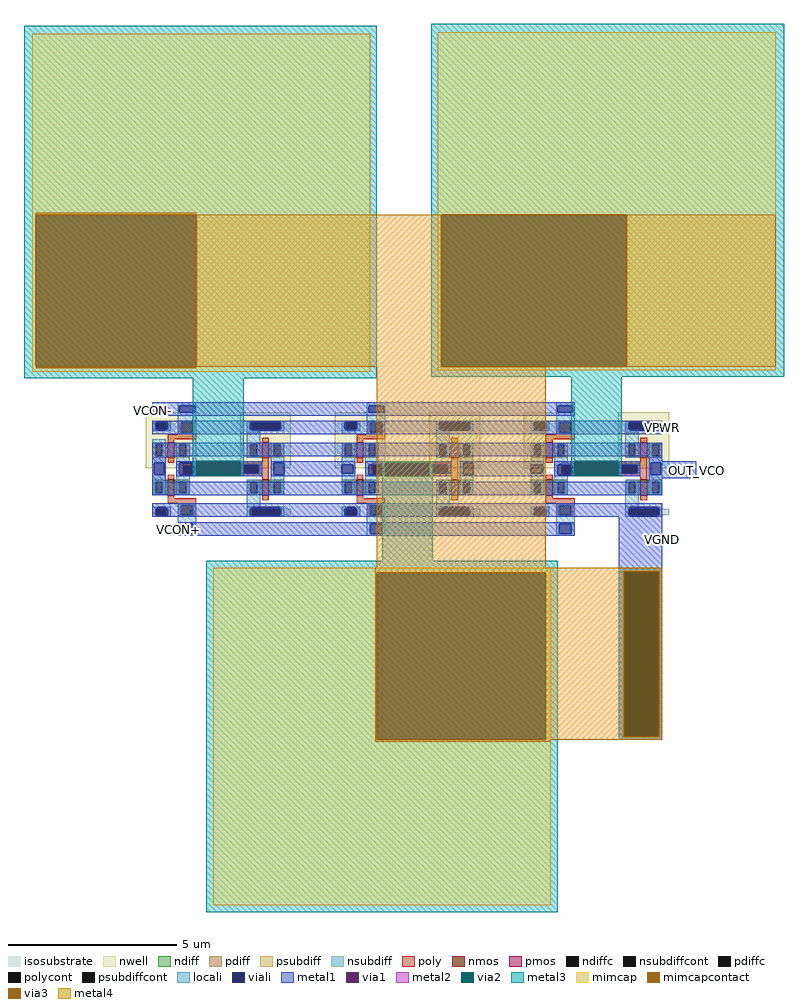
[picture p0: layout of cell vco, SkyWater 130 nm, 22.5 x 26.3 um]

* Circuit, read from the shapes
.subckt vco VPWR VCON- OUT_VCO VCON+ VGND
XM1 n1 VCON+ OUT_VCO VGND sky130_fd_pr__nfet_01v8 w=0.45 l=0.2
XM2 n2 n1 VGND VGND sky130_fd_pr__nfet_01v8 w=0.45 l=0.2
XM3 n3 VCON+ n2 VGND sky130_fd_pr__nfet_01v8 w=0.45 l=0.2
XM4 n4 n3 VGND VGND sky130_fd_pr__nfet_01v8 w=0.45 l=0.2
XM5 n5 VCON+ n4 VGND sky130_fd_pr__nfet_01v8 w=0.45 l=0.2
XM6 OUT_VCO n5 VGND VGND sky130_fd_pr__nfet_01v8 w=0.45 l=0.2
XM7 n1 VCON- OUT_VCO VPWR sky130_fd_pr__pfet_01v8 w=0.45 l=0.2
XM8 n2 n1 VPWR VPWR sky130_fd_pr__pfet_01v8 w=0.45 l=0.2
XM9 n3 VCON- n2 VPWR sky130_fd_pr__pfet_01v8 w=0.45 l=0.2
XM10 n4 n3 VPWR VPWR sky130_fd_pr__pfet_01v8 w=0.45 l=0.2
XM11 n5 VCON- n4 VPWR sky130_fd_pr__pfet_01v8 w=0.45 l=0.2
XM12 OUT_VCO n5 VPWR VPWR sky130_fd_pr__pfet_01v8 w=0.45 l=0.2
XC13 VGND n1 sky130_fd_pr__cap_mim_m3_1 w=10 l=10
XC14 VGND n3 sky130_fd_pr__cap_mim_m3_1 w=10 l=10
XC15 VGND n5 sky130_fd_pr__cap_mim_m3_1 w=10 l=10
.ends

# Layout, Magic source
magic
tech sky130A
<< isosubstrate >>
rect 190 315 210 335
rect 400 325 405 345
rect 420 340 470 345
rect 420 325 490 340
rect 470 320 490 325
rect 715 315 770 355
rect 960 325 965 345
rect 980 340 1030 345
rect 980 325 1050 340
rect 1030 320 1050 325
rect 1275 315 1330 355
rect 1520 325 1525 345
rect 1540 340 1590 345
rect 1540 325 1610 340
rect 1590 320 1610 325
<< nwell >>
rect 60 460 210 625
rect 340 460 490 625
rect 620 460 770 625
rect 900 460 1050 625
rect 1180 460 1330 625
rect 1460 460 1610 625
<< nmos >>
rect 125 380 145 425
rect 405 380 425 425
rect 685 380 705 425
rect 965 380 985 425
rect 1245 380 1265 425
rect 1525 380 1545 425
<< pmos >>
rect 125 490 145 535
rect 405 490 425 535
rect 685 490 705 535
rect 965 490 985 535
rect 1245 490 1265 535
rect 1525 490 1545 535
<< ndiff >>
rect 80 420 125 425
rect 80 385 90 420
rect 110 385 125 420
rect 80 380 125 385
rect 145 420 190 425
rect 145 385 160 420
rect 180 385 190 420
rect 145 380 190 385
rect 360 420 405 425
rect 360 385 370 420
rect 390 385 405 420
rect 360 380 405 385
rect 425 420 470 425
rect 425 385 440 420
rect 460 385 470 420
rect 425 380 470 385
rect 640 420 685 425
rect 640 385 650 420
rect 670 385 685 420
rect 640 380 685 385
rect 705 420 750 425
rect 705 385 720 420
rect 740 385 750 420
rect 705 380 750 385
rect 920 420 965 425
rect 920 385 930 420
rect 950 385 965 420
rect 920 380 965 385
rect 985 420 1030 425
rect 985 385 1000 420
rect 1020 385 1030 420
rect 985 380 1030 385
rect 1200 420 1245 425
rect 1200 385 1210 420
rect 1230 385 1245 420
rect 1200 380 1245 385
rect 1265 420 1310 425
rect 1265 385 1280 420
rect 1300 385 1310 420
rect 1265 380 1310 385
rect 1480 420 1525 425
rect 1480 385 1490 420
rect 1510 385 1525 420
rect 1480 380 1525 385
rect 1545 420 1590 425
rect 1545 385 1560 420
rect 1580 385 1590 420
rect 1545 380 1590 385
<< pdiff >>
rect 80 530 125 535
rect 80 495 90 530
rect 110 495 125 530
rect 80 490 125 495
rect 145 530 190 535
rect 145 495 160 530
rect 180 495 190 530
rect 145 490 190 495
rect 360 530 405 535
rect 360 495 370 530
rect 390 495 405 530
rect 360 490 405 495
rect 425 530 470 535
rect 425 495 440 530
rect 460 495 470 530
rect 425 490 470 495
rect 640 530 685 535
rect 640 495 650 530
rect 670 495 685 530
rect 640 490 685 495
rect 705 530 750 535
rect 705 495 720 530
rect 740 495 750 530
rect 705 490 750 495
rect 920 530 965 535
rect 920 495 930 530
rect 950 495 965 530
rect 920 490 965 495
rect 985 530 1030 535
rect 985 495 1000 530
rect 1020 495 1030 530
rect 985 490 1030 495
rect 1200 530 1245 535
rect 1200 495 1210 530
rect 1230 495 1245 530
rect 1200 490 1245 495
rect 1265 530 1310 535
rect 1265 495 1280 530
rect 1300 495 1310 530
rect 1265 490 1310 495
rect 1480 530 1525 535
rect 1480 495 1490 530
rect 1510 495 1525 530
rect 1480 490 1525 495
rect 1545 530 1590 535
rect 1545 495 1560 530
rect 1580 495 1590 530
rect 1545 490 1590 495
<< ndiffc >>
rect 90 385 110 420
rect 160 385 180 420
rect 370 385 390 420
rect 440 385 460 420
rect 650 385 670 420
rect 720 385 740 420
rect 930 385 950 420
rect 1000 385 1020 420
rect 1210 385 1230 420
rect 1280 385 1300 420
rect 1490 385 1510 420
rect 1560 385 1580 420
<< pdiffc >>
rect 90 495 110 530
rect 160 495 180 530
rect 370 495 390 530
rect 440 495 460 530
rect 650 495 670 530
rect 720 495 740 530
rect 930 495 950 530
rect 1000 495 1020 530
rect 1210 495 1230 530
rect 1280 495 1300 530
rect 1490 495 1510 530
rect 1560 495 1580 530
<< psubdiff >>
rect 80 315 95 345
rect 120 315 135 345
rect 360 315 375 345
rect 455 315 470 345
rect 640 315 655 345
rect 680 315 695 345
rect 920 315 935 345
rect 1015 315 1030 345
rect 1200 315 1215 345
rect 1240 315 1255 345
rect 1480 315 1495 345
rect 1575 315 1590 345
<< nsubdiff >>
rect 80 570 95 600
rect 120 570 135 600
rect 360 570 375 600
rect 455 570 470 600
rect 640 570 655 600
rect 680 570 695 600
rect 360 565 400 570
rect 920 570 935 600
rect 1015 570 1030 600
rect 1200 570 1215 600
rect 1240 570 1255 600
rect 920 565 960 570
rect 1480 570 1495 600
rect 1575 570 1590 600
rect 1480 565 1520 570
<< psubdiffcont >>
rect 95 315 120 345
rect 375 315 455 345
rect 655 315 680 345
rect 935 315 1015 345
rect 1215 315 1240 345
rect 1495 315 1575 345
<< nsubdiffcont >>
rect 95 570 120 600
rect 375 570 455 600
rect 655 570 680 600
rect 935 570 1015 600
rect 1215 570 1240 600
rect 1495 570 1575 600
<< poly >>
rect 155 595 210 600
rect 155 565 165 595
rect 200 565 210 595
rect 715 595 770 600
rect 715 565 725 595
rect 760 565 770 595
rect 1275 595 1330 600
rect 1275 565 1285 595
rect 1320 565 1330 595
rect 155 560 210 565
rect 715 560 770 565
rect 1275 560 1330 565
rect 125 545 210 560
rect 125 535 145 545
rect 405 535 425 550
rect 685 545 770 560
rect 685 535 705 545
rect 965 535 985 550
rect 1245 545 1330 560
rect 1245 535 1265 545
rect 1525 535 1545 550
rect 125 475 145 490
rect 405 475 425 490
rect 685 475 705 490
rect 965 475 985 490
rect 1245 475 1265 490
rect 1525 475 1545 490
rect 170 465 210 475
rect 170 445 175 465
rect 205 445 210 465
rect 125 425 145 440
rect 170 435 210 445
rect 340 465 425 475
rect 340 445 350 465
rect 395 445 425 465
rect 340 435 425 445
rect 730 465 770 475
rect 730 445 735 465
rect 765 445 770 465
rect 405 425 425 435
rect 685 425 705 440
rect 730 435 770 445
rect 900 465 985 475
rect 900 445 910 465
rect 955 445 985 465
rect 900 435 985 445
rect 1290 465 1330 475
rect 1290 445 1295 465
rect 1325 445 1330 465
rect 965 425 985 435
rect 1245 425 1265 440
rect 1290 435 1330 445
rect 1460 465 1545 475
rect 1460 445 1470 465
rect 1515 445 1545 465
rect 1460 435 1545 445
rect 1525 425 1545 435
rect 125 370 145 380
rect 125 355 210 370
rect 405 365 425 380
rect 685 370 705 380
rect 685 355 770 370
rect 965 365 985 380
rect 1245 370 1265 380
rect 1245 355 1330 370
rect 1525 365 1545 380
rect 155 350 210 355
rect 155 320 165 350
rect 200 320 210 350
rect 715 350 770 355
rect 155 315 210 320
rect 715 320 725 350
rect 760 320 770 350
rect 1275 350 1330 355
rect 715 315 770 320
rect 1275 320 1285 350
rect 1320 320 1330 350
rect 1275 315 1330 320
<< polycont >>
rect 165 565 200 595
rect 725 565 760 595
rect 1285 565 1320 595
rect 175 445 205 465
rect 350 445 395 465
rect 735 445 765 465
rect 910 445 955 465
rect 1295 445 1325 465
rect 1470 445 1515 465
rect 165 320 200 350
rect 725 320 760 350
rect 1285 320 1320 350
<< locali >>
rect 155 645 210 655
rect 155 625 160 645
rect 205 625 210 645
rect 80 595 95 600
rect 120 595 135 600
rect 80 575 90 595
rect 125 575 135 595
rect 80 570 95 575
rect 120 570 135 575
rect 155 595 210 625
rect 715 645 770 655
rect 715 625 720 645
rect 765 625 770 645
rect 155 565 165 595
rect 200 565 210 595
rect 155 560 210 565
rect 360 595 375 600
rect 455 595 470 600
rect 360 575 370 595
rect 460 575 470 595
rect 360 570 375 575
rect 455 570 470 575
rect 640 595 655 600
rect 680 595 695 600
rect 640 575 650 595
rect 685 575 695 595
rect 640 570 655 575
rect 680 570 695 575
rect 715 595 770 625
rect 1275 645 1330 655
rect 1275 625 1280 645
rect 1325 625 1330 645
rect 80 530 120 545
rect 80 495 90 530
rect 110 495 120 530
rect 80 475 120 495
rect 80 440 85 475
rect 115 440 120 475
rect 80 420 120 440
rect 80 385 90 420
rect 110 385 120 420
rect 80 380 120 385
rect 150 530 190 535
rect 150 495 160 530
rect 180 495 190 530
rect 150 475 190 495
rect 360 530 400 570
rect 640 560 680 570
rect 715 565 725 595
rect 760 565 770 595
rect 715 560 770 565
rect 920 595 935 600
rect 1015 595 1030 600
rect 920 575 930 595
rect 1020 575 1030 595
rect 920 570 935 575
rect 1015 570 1030 575
rect 1200 595 1215 600
rect 1240 595 1255 600
rect 1200 575 1210 595
rect 1245 575 1255 595
rect 1200 570 1215 575
rect 1240 570 1255 575
rect 1275 595 1330 625
rect 360 495 370 530
rect 390 495 400 530
rect 360 490 400 495
rect 430 530 470 535
rect 430 495 440 530
rect 460 495 470 530
rect 430 475 470 495
rect 150 440 160 475
rect 200 465 210 475
rect 205 445 210 465
rect 340 445 350 470
rect 395 445 405 470
rect 200 440 210 445
rect 150 435 210 440
rect 430 440 440 475
rect 150 420 190 435
rect 150 385 160 420
rect 180 385 190 420
rect 150 380 190 385
rect 360 420 400 425
rect 360 385 370 420
rect 390 385 400 420
rect 155 350 210 355
rect 80 340 95 345
rect 120 340 135 345
rect 80 320 90 340
rect 125 320 135 340
rect 80 315 95 320
rect 120 315 135 320
rect 155 320 165 350
rect 200 320 210 350
rect 155 295 210 320
rect 360 345 400 385
rect 430 420 470 440
rect 430 385 440 420
rect 460 385 470 420
rect 430 380 470 385
rect 640 530 680 535
rect 640 495 650 530
rect 670 495 680 530
rect 640 470 680 495
rect 675 445 680 470
rect 640 420 680 445
rect 640 385 650 420
rect 670 385 680 420
rect 640 380 680 385
rect 710 530 750 535
rect 710 495 720 530
rect 740 495 750 530
rect 710 475 750 495
rect 920 530 960 570
rect 1200 560 1240 570
rect 1275 565 1285 595
rect 1320 565 1330 595
rect 1275 560 1330 565
rect 1480 595 1495 600
rect 1575 595 1590 600
rect 1480 575 1490 595
rect 1580 575 1590 595
rect 1480 570 1495 575
rect 1575 570 1590 575
rect 920 495 930 530
rect 950 495 960 530
rect 920 490 960 495
rect 990 530 1030 535
rect 990 495 1000 530
rect 1020 495 1030 530
rect 990 475 1030 495
rect 710 470 770 475
rect 710 440 720 470
rect 760 465 770 470
rect 765 445 770 465
rect 900 445 910 470
rect 955 445 965 470
rect 760 440 770 445
rect 710 435 770 440
rect 990 440 1000 475
rect 710 420 750 435
rect 710 385 720 420
rect 740 385 750 420
rect 710 380 750 385
rect 920 420 960 425
rect 920 385 930 420
rect 950 385 960 420
rect 715 350 770 355
rect 360 340 375 345
rect 455 340 470 345
rect 360 320 370 340
rect 460 320 470 340
rect 360 315 375 320
rect 455 315 470 320
rect 640 340 655 345
rect 680 340 695 345
rect 640 320 650 340
rect 685 320 695 340
rect 640 315 655 320
rect 680 315 695 320
rect 715 320 725 350
rect 760 320 770 350
rect 155 265 165 295
rect 200 265 210 295
rect 155 260 210 265
rect 715 295 770 320
rect 920 345 960 385
rect 990 420 1030 440
rect 990 385 1000 420
rect 1020 385 1030 420
rect 990 380 1030 385
rect 1200 530 1240 535
rect 1200 495 1210 530
rect 1230 495 1240 530
rect 1200 470 1240 495
rect 1235 445 1240 470
rect 1200 420 1240 445
rect 1200 385 1210 420
rect 1230 385 1240 420
rect 1200 380 1240 385
rect 1270 530 1310 535
rect 1270 495 1280 530
rect 1300 495 1310 530
rect 1270 475 1310 495
rect 1480 530 1520 570
rect 1480 495 1490 530
rect 1510 495 1520 530
rect 1480 490 1520 495
rect 1550 530 1590 535
rect 1550 495 1560 530
rect 1580 495 1590 530
rect 1550 475 1590 495
rect 1270 470 1330 475
rect 1270 440 1280 470
rect 1320 465 1330 470
rect 1325 445 1330 465
rect 1460 445 1470 470
rect 1515 445 1525 470
rect 1320 440 1330 445
rect 1270 435 1330 440
rect 1550 440 1555 475
rect 1585 440 1590 475
rect 1270 420 1310 435
rect 1270 385 1280 420
rect 1300 385 1310 420
rect 1270 380 1310 385
rect 1480 420 1520 425
rect 1480 385 1490 420
rect 1510 385 1520 420
rect 1275 350 1330 355
rect 920 340 935 345
rect 1015 340 1030 345
rect 920 320 930 340
rect 1020 320 1030 340
rect 920 315 935 320
rect 1015 315 1030 320
rect 1200 340 1215 345
rect 1240 340 1255 345
rect 1200 320 1210 340
rect 1245 320 1255 340
rect 1200 315 1215 320
rect 1240 315 1255 320
rect 1275 320 1285 350
rect 1320 320 1330 350
rect 715 265 725 295
rect 760 265 770 295
rect 715 260 770 265
rect 1275 295 1330 320
rect 1480 345 1520 385
rect 1550 420 1590 440
rect 1550 385 1560 420
rect 1580 385 1590 420
rect 1550 380 1590 385
rect 1480 340 1495 345
rect 1575 340 1590 345
rect 1480 320 1490 340
rect 1580 320 1590 340
rect 1480 315 1495 320
rect 1575 315 1590 320
rect 1275 265 1285 295
rect 1320 265 1330 295
rect 1275 260 1330 265
<< viali >>
rect 160 625 205 645
rect 90 575 95 595
rect 95 575 120 595
rect 120 575 125 595
rect 720 625 765 645
rect 370 575 375 595
rect 375 575 455 595
rect 455 575 460 595
rect 650 575 655 595
rect 655 575 680 595
rect 680 575 685 595
rect 1280 625 1325 645
rect 85 440 115 475
rect 930 575 935 595
rect 935 575 1015 595
rect 1015 575 1020 595
rect 1210 575 1215 595
rect 1215 575 1240 595
rect 1240 575 1245 595
rect 160 465 200 475
rect 160 445 175 465
rect 175 445 200 465
rect 350 465 395 470
rect 350 445 395 465
rect 160 440 200 445
rect 440 440 470 475
rect 90 320 95 340
rect 95 320 120 340
rect 120 320 125 340
rect 640 445 675 470
rect 1490 575 1495 595
rect 1495 575 1575 595
rect 1575 575 1580 595
rect 720 465 760 470
rect 720 445 735 465
rect 735 445 760 465
rect 910 465 955 470
rect 910 445 955 465
rect 720 440 760 445
rect 1000 440 1030 475
rect 370 320 375 340
rect 375 320 455 340
rect 455 320 460 340
rect 650 320 655 340
rect 655 320 680 340
rect 680 320 685 340
rect 165 265 200 295
rect 1200 445 1235 470
rect 1280 465 1320 470
rect 1280 445 1295 465
rect 1295 445 1320 465
rect 1470 465 1515 470
rect 1470 445 1515 465
rect 1280 440 1320 445
rect 1555 440 1585 475
rect 930 320 935 340
rect 935 320 1015 340
rect 1015 320 1020 340
rect 1210 320 1215 340
rect 1215 320 1240 340
rect 1240 320 1245 340
rect 725 265 760 295
rect 1490 320 1495 340
rect 1495 320 1575 340
rect 1575 320 1580 340
rect 1285 265 1320 295
<< metal1 >>
rect 80 645 1330 655
rect 80 625 160 645
rect 205 625 720 645
rect 765 625 1280 645
rect 1325 625 1330 645
rect 80 615 1330 625
rect 80 595 1590 600
rect 80 575 90 595
rect 125 575 370 595
rect 460 575 650 595
rect 685 575 930 595
rect 1020 575 1210 595
rect 1245 575 1490 595
rect 1580 575 1590 595
rect 80 560 1590 575
rect 80 495 1590 535
rect 80 475 120 495
rect 1550 480 1590 495
rect 80 440 85 475
rect 115 440 120 475
rect 80 420 120 440
rect 150 475 210 480
rect 150 440 160 475
rect 200 440 210 475
rect 150 435 210 440
rect 340 470 405 480
rect 340 445 350 470
rect 395 445 405 470
rect 340 435 405 445
rect 430 475 680 480
rect 430 440 440 475
rect 470 470 680 475
rect 470 445 640 470
rect 675 445 680 470
rect 470 440 680 445
rect 430 435 680 440
rect 710 470 770 480
rect 710 440 720 470
rect 760 440 770 470
rect 710 435 770 440
rect 900 470 965 480
rect 900 445 910 470
rect 955 445 965 470
rect 900 435 965 445
rect 990 475 1240 480
rect 990 440 1000 475
rect 1030 470 1240 475
rect 1030 445 1200 470
rect 1235 445 1240 470
rect 1030 440 1240 445
rect 990 435 1240 440
rect 1270 470 1330 480
rect 1270 440 1280 470
rect 1320 440 1330 470
rect 1270 435 1330 440
rect 1460 470 1525 480
rect 1460 445 1470 470
rect 1515 445 1525 470
rect 1460 435 1525 445
rect 1550 475 1690 480
rect 1550 440 1555 475
rect 1585 440 1690 475
rect 1550 430 1690 440
rect 1550 420 1590 430
rect 80 380 1590 420
rect 80 340 1590 355
rect 80 320 90 340
rect 125 320 370 340
rect 460 320 650 340
rect 685 320 930 340
rect 1020 320 1210 340
rect 1245 320 1490 340
rect 1580 320 1590 340
rect 80 315 1590 320
rect 155 295 1330 300
rect 155 265 165 295
rect 200 265 725 295
rect 760 265 1285 295
rect 1320 265 1330 295
rect 155 260 1330 265
rect 1461 155 1590 315
rect 1461 -335 1475 155
rect 1580 -335 1590 155
rect 1461 -345 1590 -335
<< via1 >>
rect 210 435 340 480
rect 770 435 900 480
rect 1330 435 1460 480
rect 1475 -335 1580 155
<< metal2 >>
rect 200 435 210 480
rect 340 435 350 480
rect 760 435 770 480
rect 900 435 910 480
rect 1320 435 1330 480
rect 1460 435 1470 480
rect 1461 155 1590 165
rect 1461 -335 1475 155
rect 1580 -335 1590 155
rect 1461 -345 1590 -335
<< via2 >>
rect 210 440 340 480
rect 770 435 900 475
rect 1330 440 1460 480
rect 1475 -335 1580 155
<< metal3 >>
rect -300 725 745 1770
rect 905 730 1950 1775
rect 200 480 350 725
rect 1320 480 1470 730
rect 200 440 210 480
rect 340 440 350 480
rect 200 435 350 440
rect 760 475 910 480
rect 760 435 770 475
rect 900 435 910 475
rect 1320 440 1330 480
rect 1460 440 1470 480
rect 1320 435 1470 440
rect 760 185 910 435
rect 240 -855 1280 185
rect 1461 155 1590 165
rect 1461 -335 1475 155
rect 1580 -335 1590 155
rect 1461 -345 1590 -335
<< via3 >>
rect 1475 -335 1580 155
<< mimcap >>
rect -275 1210 725 1745
rect -275 760 -265 1210
rect 210 760 725 1210
rect -275 745 725 760
rect 925 1210 1925 1750
rect 925 760 935 1210
rect 1485 760 1925 1210
rect 925 750 1925 760
rect 260 150 1260 165
rect 260 -345 745 150
rect 1245 -345 1260 150
rect 260 -835 1260 -345
<< mimcapcontact >>
rect -265 760 210 1210
rect 935 760 1485 1210
rect 745 -345 1245 150
<< metal4 >>
rect -265 1210 210 1215
rect 210 760 935 1210
rect 1485 760 1925 1210
rect -265 755 210 760
rect 745 165 1245 760
rect 740 155 1590 165
rect 740 150 1475 155
rect 740 -345 745 150
rect 1245 -335 1475 150
rect 1580 -335 1590 155
rect 1245 -345 1590 -335
rect 740 -350 1260 -345
<< labels >>
flabel metal1 s 1590 581 1590 581 3 FreeSans 160 0 0 0 VPWR
port 0 e
flabel metal1 s 80 631 80 631 7 FreeSans 160 0 0 0 VCON-
port 1 w
flabel metal1 s 1690 454 1690 454 3 FreeSans 160 0 0 0 OUT_VCO
port 2 e
flabel metal1 s 156 277 156 277 7 FreeSans 160 0 0 0 VCON+
port 3 w
flabel metal1 s 1590 249 1590 249 3 FreeSans 160 0 0 0 VGND
port 4 e
<< end >>
